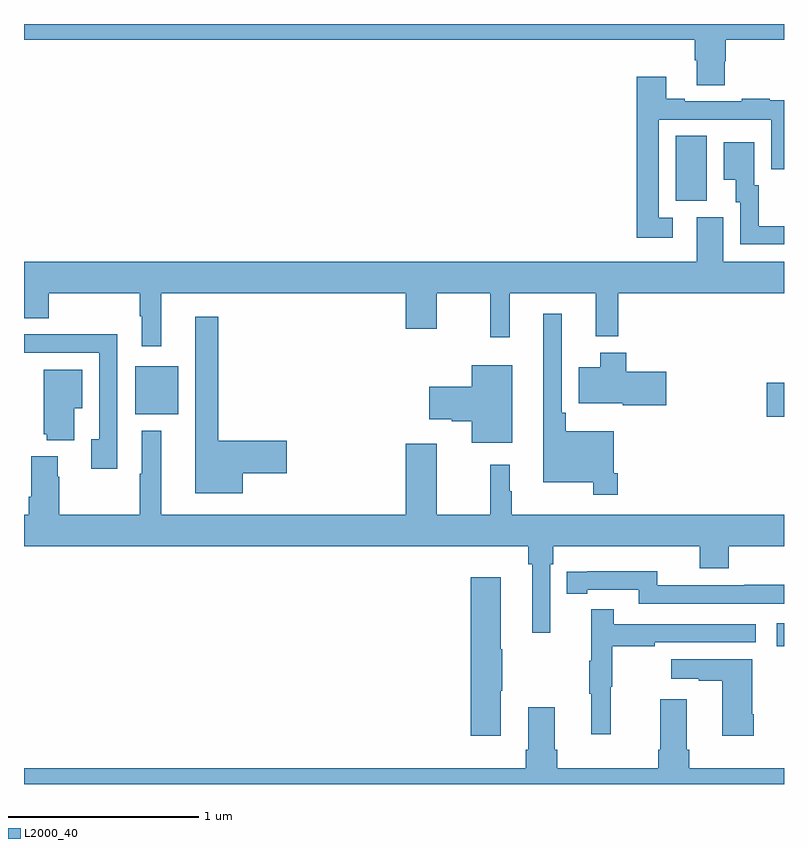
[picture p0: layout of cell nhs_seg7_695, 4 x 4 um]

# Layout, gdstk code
import gdstk
lib = gdstk.Library(unit=1e-6, precision=1e-09)
def R(c, l, rs):  # rectangles x0, y0, x1, y1
    for r in rs: c.add(gdstk.rectangle(r[:2], r[2:], *l))
def P(c, l, *ps):  # polygons
    for p in ps: c.add(gdstk.Polygon(p, *l))
L2000_40 = (2000, 40)

nhs_seg7_695 = lib.new_cell('nhs_seg7_695')
R(nhs_seg7_695, L2000_40, [(166.962,1030.725,167,1030.846), (166.908,1031.933,167,1032.111), (163.586,1031.945,163.813,1032.199), (166.43,1033.069,166.594,1033.412)])
P(nhs_seg7_695, L2000_40, [(166.689,1033.803),(166.694,1033.803),(166.694,1033.916),(167,1033.916),(167,1034),(163,1034),(163,1033.916),(166.529,1033.916),(166.529,1033.81),(166.541,1033.81),(166.541,1033.678),(166.689,1033.678)],
  [(166.414,1032.981),(166.341,1032.981),(166.341,1033.497),(166.932,1033.497),(166.932,1033.236),(167,1033.236),(167,1033.599),(166.925,1033.599),(166.925,1033.606),(166.777,1033.606),(166.777,1033.593),(166.477,1033.593),(166.477,1033.606),(166.381,1033.606),(166.381,1033.723),(166.225,1033.723),(166.225,1032.876),(166.414,1032.876)],
  [(167,1032.936),(166.867,1032.936),(166.867,1033.152),(166.843,1033.152),(166.843,1033.378),(166.682,1033.378),(166.682,1033.181),(166.745,1033.181),(166.745,1033.062),(166.77,1033.062),(166.77,1032.84),(167,1032.84)],
  [(163.723,1032.584),(165.008,1032.584),(165.008,1032.396),(165.172,1032.396),(165.172,1032.584),(165.454,1032.584),(165.454,1032.351),(165.557,1032.351),(165.557,1032.584),(166.01,1032.584),(166.01,1032.356),(166.127,1032.356),(166.127,1032.584),(167,1032.584),(167,1032.748),(166.681,1032.748),(166.681,1032.984),(166.541,1032.984),(166.541,1032.748),(163,1032.748),(163,1032.451),(163.131,1032.451),(163.131,1032.584),(163.609,1032.584),(163.609,1032.463),(163.619,1032.463),(163.619,1032.303),(163.723,1032.303)],
  [(166.124,1031.635),(166.104,1031.635),(166.104,1031.857),(165.851,1031.857),(165.851,1031.953),(165.831,1031.953),(165.831,1032.475),(165.734,1032.475),(165.734,1031.588),(165.996,1031.588),(165.996,1031.523),(166.124,1031.523)],
  [(164.152,1031.636),(164.383,1031.636),(164.383,1031.807),(164.023,1031.807),(164.023,1032.46),(163.901,1032.46),(163.901,1031.531),(164.152,1031.531)],
  [(163.491,1032.368),(163.219,1032.368),(163.219,1032.366),(163,1032.366),(163,1032.27),(163.395,1032.27),(163.395,1031.814),(163.355,1031.814),(163.355,1031.658),(163.491,1031.658)],
  [(166.381,1032.171),(166.169,1032.171),(166.169,1032.271),(166.034,1032.271),(166.034,1032.193),(165.92,1032.193),(165.92,1032.005),(166.152,1032.005),(166.152,1031.993),(166.381,1031.993)],
  [(165.571,1032.205),(165.356,1032.205),(165.356,1032.092),(165.132,1032.092),(165.132,1031.921),(165.252,1031.921),(165.252,1031.909),(165.356,1031.909),(165.356,1031.795),(165.571,1031.795)],
  [(163.264,1031.978),(163.306,1031.978),(163.306,1032.181),(163.103,1032.181),(163.103,1031.841),(163.121,1031.841),(163.121,1031.81),(163.264,1031.81)],
  [(165.771,1031.156),(165.785,1031.156),(165.785,1031.252),(166.556,1031.252),(166.556,1031.135),(166.709,1031.135),(166.709,1031.252),(167,1031.252),(167,1031.416),(165.568,1031.416),(165.568,1031.54),(165.556,1031.54),(165.556,1031.68),(165.454,1031.68),(165.454,1031.416),(165.172,1031.416),(165.172,1031.791),(165.008,1031.791),(165.008,1031.416),(163.723,1031.416),(163.723,1031.86),(163.619,1031.86),(163.619,1031.632),(163.609,1031.632),(163.609,1031.416),(163.185,1031.416),(163.185,1031.618),(163.177,1031.618),(163.177,1031.725),(163.037,1031.725),(163.037,1031.512),(163.025,1031.512),(163.025,1031.416),(163,1031.416),(163,1031.252),(165.655,1031.252),(165.655,1031.156),(165.674,1031.156),(165.674,1030.797),(165.771,1030.797)],
  [(167,1031.048),(166.792,1031.048),(166.792,1031.046),(166.332,1031.046),(166.332,1031.119),(165.964,1031.119),(165.964,1031.118),(165.856,1031.118),(165.856,1031.002),(165.964,1031.002),(165.964,1031.022),(166.236,1031.022),(166.236,1030.95),(167,1030.95)],
  [(165.508,1030.492),(165.516,1030.492),(165.516,1030.709),(165.508,1030.709),(165.508,1031.089),(165.35,1031.089),(165.35,1030.254),(165.508,1030.254)],
  [(166.088,1030.512),(166.096,1030.512),(166.096,1030.726),(166.319,1030.726),(166.319,1030.746),(166.852,1030.746),(166.852,1030.842),(166.103,1030.842),(166.103,1030.921),(165.986,1030.921),(165.986,1030.649),(165.975,1030.649),(165.975,1030.475),(165.986,1030.475),(165.986,1030.263),(166.088,1030.263)],
  [(166.842,1030.366),(166.834,1030.366),(166.834,1030.657),(166.407,1030.657),(166.407,1030.553),(166.55,1030.553),(166.55,1030.543),(166.676,1030.543),(166.676,1030.254),(166.842,1030.254)],
  [(166.349,1030.447),(166.349,1030.18),(166.337,1030.18),(166.337,1030.084),(165.806,1030.084),(165.806,1030.18),(165.793,1030.18),(165.793,1030.405),(165.653,1030.405),(165.653,1030.18),(165.641,1030.18),(165.641,1030.084),(163,1030.084),(163,1030),(167,1030),(167,1030.084),(166.502,1030.084),(166.502,1030.18),(166.489,1030.18),(166.489,1030.447)])

lib.write_gds('nhs_seg7_695.gds')
